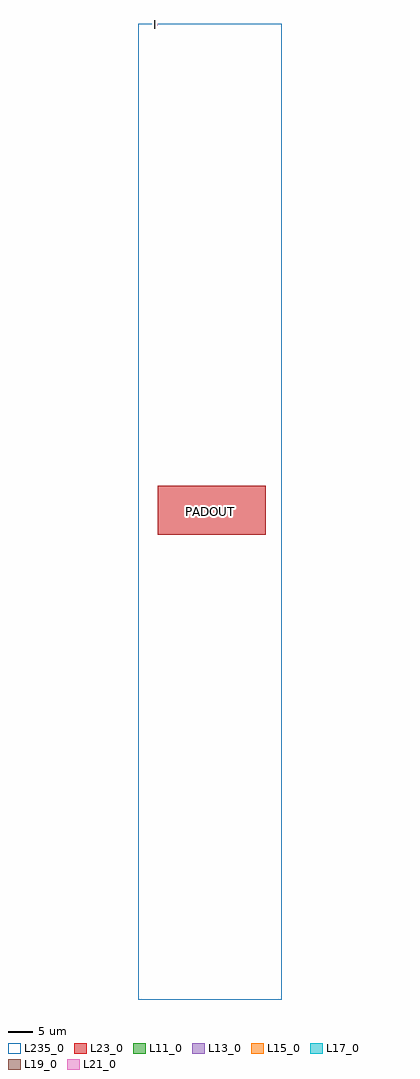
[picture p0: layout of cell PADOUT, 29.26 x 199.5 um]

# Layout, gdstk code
import gdstk
lib = gdstk.Library(unit=1e-6, precision=5e-10)
def R(c, l, rs):  # rectangles x0, y0, x1, y1
    for r in rs: c.add(gdstk.rectangle(r[:2], r[2:], *l))
L11_0 = (11, 0)
L13_0 = (13, 0)
L15_0 = (15, 0)
L17_0 = (17, 0)
L19_0 = (19, 0)
L21_0 = (21, 0)
L23_0 = (23, 0)
L235_0 = (235, 0)

padout = lib.new_cell('PADOUT')
R(padout, L11_0, [(3,199,4,199.5)])
R(padout, L13_0, [(3,199,4,199.5)])
R(padout, L15_0, [(3,199,4,199.5)])
R(padout, L17_0, [(3,199,4,199.5)])
R(padout, L19_0, [(3,199,4,199.5)])
R(padout, L21_0, [(3,199,4,199.5)])
R(padout, L23_0, [(4,95,26,105)])
R(padout, L235_0, [(0,0,29.26,199.5)])
padout.add(gdstk.Label('PADOUT', (14.63,99.75), layer=108, texttype=3))
padout.add(gdstk.Label('PAD', (15,100), layer=23, texttype=0))
padout.add(gdstk.Label('I', (3.5,199.25), layer=11, texttype=0))
padout.add(gdstk.Label('I', (3.5,199.25), layer=13, texttype=0))
padout.add(gdstk.Label('I', (3.5,199.25), layer=15, texttype=0))
padout.add(gdstk.Label('I', (3.5,199.25), layer=17, texttype=0))
padout.add(gdstk.Label('I', (3.5,199.25), layer=19, texttype=0))
padout.add(gdstk.Label('I', (3.5,199.25), layer=21, texttype=0))

lib.write_gds('PADOUT.gds')
